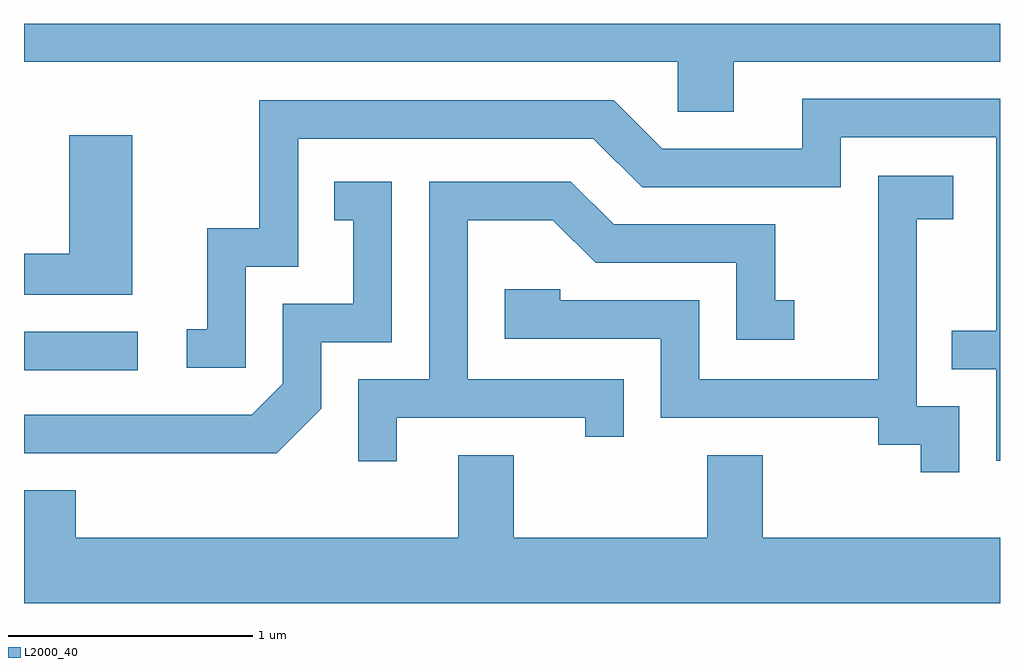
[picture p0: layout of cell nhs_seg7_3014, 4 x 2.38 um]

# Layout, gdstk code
import gdstk
lib = gdstk.Library(unit=1e-6, precision=1e-09)
def R(c, l, rs):  # rectangles x0, y0, x1, y1
    for r in rs: c.add(gdstk.rectangle(r[:2], r[2:], *l))
def P(c, l, *ps):  # polygons
    for p in ps: c.add(gdstk.Polygon(p, *l))
L2000_40 = (2000, 40)

nhs_seg7_3014 = lib.new_cell('nhs_seg7_3014')
R(nhs_seg7_3014, L2000_40, [(277.611,1710.831,278.078,1710.989)])
P(nhs_seg7_3014, L2000_40, [(280.519,1712.096),(281.611,1712.096),(281.611,1712.252),(277.611,1712.252),(277.611,1712.096),(280.291,1712.096),(280.291,1711.891),(280.519,1711.891)],
  [(281.611,1711.944),(280.801,1711.944),(280.801,1711.739),(280.227,1711.739),(280.027,1711.939),(278.576,1711.939),(278.576,1711.414),(278.361,1711.414),(278.361,1710.999),(278.278,1710.999),(278.278,1710.841),(278.519,1710.841),(278.519,1711.256),(278.734,1711.256),(278.734,1711.781),(279.944,1711.781),(280.144,1711.581),(280.959,1711.581),(280.959,1711.786),(281.596,1711.786),(281.596,1710.994),(281.413,1710.994),(281.413,1710.836),(281.596,1710.836),(281.596,1710.461),(281.611,1710.461)],
  [(278.054,1711.794),(277.796,1711.794),(277.796,1711.309),(277.611,1711.309),(277.611,1711.141),(278.054,1711.141)],
  [(281.444,1710.684),(281.269,1710.684),(281.269,1711.451),(281.419,1711.451),(281.419,1711.629),(281.111,1711.629),(281.111,1710.794),(280.379,1710.794),(280.379,1711.119),(279.809,1711.119),(279.809,1711.164),(279.581,1711.164),(279.581,1710.961),(280.221,1710.961),(280.221,1710.636),(281.111,1710.636),(281.111,1710.526),(281.286,1710.526),(281.286,1710.413),(281.444,1710.413)],
  [(278.829,1710.674),(278.829,1710.946),(279.119,1710.946),(279.119,1711.604),(278.883,1711.604),(278.883,1711.446),(278.961,1711.446),(278.961,1711.104),(278.671,1711.104),(278.671,1710.777),(278.544,1710.649),(277.611,1710.649),(277.611,1710.491),(278.647,1710.491)],
  [(279.139,1710.636),(279.911,1710.636),(279.911,1710.558),(280.069,1710.558),(280.069,1710.794),(279.429,1710.794),(279.429,1711.446),(279.779,1711.446),(279.954,1711.271),(280.531,1711.271),(280.531,1710.956),(280.768,1710.956),(280.768,1711.119),(280.689,1711.119),(280.689,1711.429),(280.027,1711.429),(279.852,1711.604),(279.271,1711.604),(279.271,1710.794),(278.981,1710.794),(278.981,1710.458),(279.139,1710.458)],
  [(281.611,1710.144),(280.639,1710.144),(280.639,1710.484),(280.411,1710.484),(280.411,1710.144),(279.619,1710.144),(279.619,1710.484),(279.391,1710.484),(279.391,1710.144),(277.824,1710.144),(277.824,1710.339),(277.611,1710.339),(277.611,1709.876),(281.611,1709.876)])

lib.write_gds('nhs_seg7_3014.gds')
